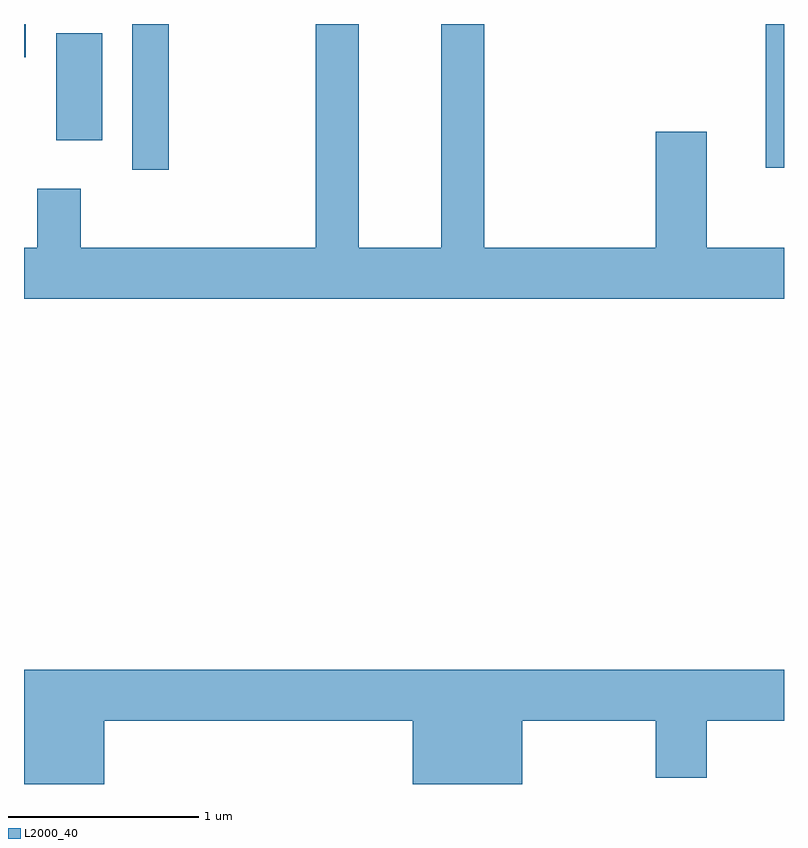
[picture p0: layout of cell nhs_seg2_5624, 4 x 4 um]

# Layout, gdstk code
import gdstk
lib = gdstk.Library(unit=1e-6, precision=1e-09)
def R(c, l, rs):  # rectangles x0, y0, x1, y1
    for r in rs: c.add(gdstk.rectangle(r[:2], r[2:], *l))
def P(c, l, *ps):  # polygons
    for p in ps: c.add(gdstk.Polygon(p, *l))
L2000_40 = (2000, 40)

nhs_seg2_5624 = lib.new_cell('nhs_seg2_5624')
R(nhs_seg2_5624, L2000_40, [(352.181,1009.036,352.374,1009.802), (355.516,1009.046,355.611,1009.802), (351.781,1009.191,352.024,1009.754), (351.611,1009.628,351.619,1009.802)])
P(nhs_seg2_5624, L2000_40, [(355.611,1008.624),(355.204,1008.624),(355.204,1009.234),(354.936,1009.234),(354.936,1008.624),(354.034,1008.624),(354.034,1009.802),(353.806,1009.802),(353.806,1008.624),(353.374,1008.624),(353.374,1009.802),(353.146,1009.802),(353.146,1008.624),(351.909,1008.624),(351.909,1008.934),(351.681,1008.934),(351.681,1008.624),(351.611,1008.624),(351.611,1008.356),(355.611,1008.356)],
  [(352.034,1006.136),(353.656,1006.136),(353.656,1005.802),(354.234,1005.802),(354.234,1006.136),(354.936,1006.136),(354.936,1005.836),(355.204,1005.836),(355.204,1006.136),(355.611,1006.136),(355.611,1006.404),(351.611,1006.404),(351.611,1005.802),(352.034,1005.802)])

lib.write_gds('nhs_seg2_5624.gds')
